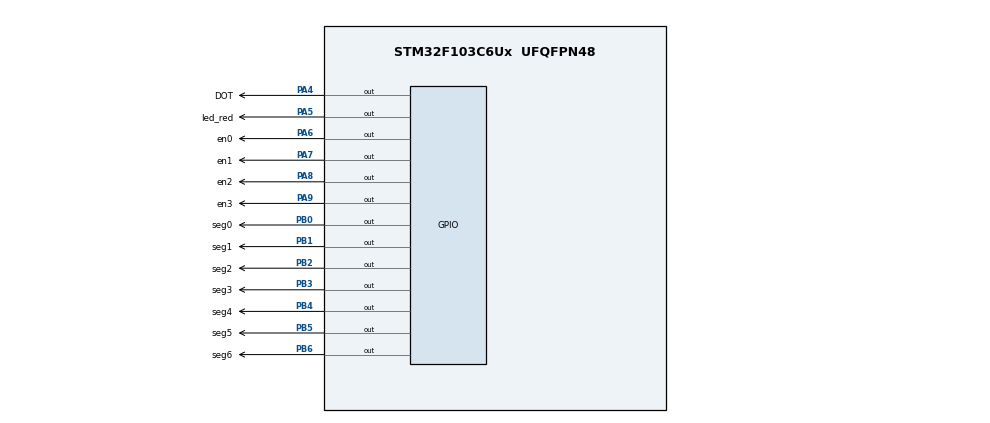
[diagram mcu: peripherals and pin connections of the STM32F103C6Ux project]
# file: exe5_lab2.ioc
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Mcu.Family=STM32F1
Mcu.Name=STM32F103C6Ux
Mcu.Package=UFQFPN48
NVIC.PriorityGroup=NVIC_PRIORITYGROUP_4
NVIC.TIM2_IRQn=true\:0\:0\:false\:false\:true\:true\:true\:true
PA4.GPIO_Label=DOT
PA4.Signal=GPIO_Output
PA5.GPIO_Label=led_red
PA5.Signal=GPIO_Output
PA6.GPIO_Label=en0
PA6.Signal=GPIO_Output
PA7.GPIO_Label=en1
PA7.Signal=GPIO_Output
PA8.GPIO_Label=en2
PA8.Signal=GPIO_Output
PA9.GPIO_Label=en3
PA9.Signal=GPIO_Output
PB0.GPIO_Label=seg0
PB0.Signal=GPIO_Output
PB1.GPIO_Label=seg1
PB1.Signal=GPIO_Output
PB2.GPIO_Label=seg2
PB2.Signal=GPIO_Output
PB3.GPIO_Label=seg3
PB3.Signal=GPIO_Output
PB4.GPIO_Label=seg4
PB4.Signal=GPIO_Output
PB5.GPIO_Label=seg5
PB5.Signal=GPIO_Output
PB6.GPIO_Label=seg6
PB6.Signal=GPIO_Output
ProjectManager.HeapSize=0x200
ProjectManager.StackSize=0x400
ProjectManager.TargetToolchain=STM32CubeIDE
RCC.APB1Freq_Value=8000000
RCC.APB2Freq_Value=8000000
TIM2.Period=9
TIM2.Prescaler=7999
VP_TIM2_VS_ClockSourceINT.Mode=Internal
board=custom

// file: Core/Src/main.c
/* USER CODE BEGIN Header */
/**
  ******************************************************************************
  * @file           : main.c
  * @brief          : Main program body
  ******************************************************************************
  * @attention
  *
  * Copyright (c) 2022 STMicroelectronics.
  * All rights reserved.
  *
  * This software is licensed under terms that can be found in the LICENSE file
  * in the root directory of this software component.
  * If no LICENSE file comes with this software, it is provided AS-IS.
  *
  ******************************************************************************
  */
/* USER CODE END Header */
#include "main.h"

TIM_HandleTypeDef htim2;

void SystemClock_Config(void);
static void MX_GPIO_Init(void);
static void MX_TIM2_Init(void);

/* USER CODE BEGIN 0 */
void display7SEG(int num){
	  if(num == 0){
		  HAL_GPIO_WritePin(seg0_GPIO_Port, seg0_Pin, RESET);
		  HAL_GPIO_WritePin(seg1_GPIO_Port, seg1_Pin, RESET);
		  HAL_GPIO_WritePin(seg2_GPIO_Port, seg2_Pin, RESET);
		  HAL_GPIO_WritePin(seg3_GPIO_Port, seg3_Pin, RESET);
		  HAL_GPIO_WritePin(seg4_GPIO_Port, seg4_Pin, RESET);
		  HAL_GPIO_WritePin(seg5_GPIO_Port, seg5_Pin, RESET);
		  HAL_GPIO_WritePin(seg6_GPIO_Port, seg6_Pin, SET);
	  }
	  if(num == 1){
		  HAL_GPIO_WritePin(seg0_GPIO_Port, seg0_Pin, SET);
		  HAL_GPIO_WritePin(seg1_GPIO_Port, seg1_Pin, RESET);
		  HAL_GPIO_WritePin(seg2_GPIO_Port, seg2_Pin, RESET);
		  HAL_GPIO_WritePin(seg3_GPIO_Port, seg3_Pin, SET);
		  HAL_GPIO_WritePin(seg4_GPIO_Port, seg4_Pin, SET);
		  HAL_GPIO_WritePin(seg5_GPIO_Port, seg5_Pin, SET);
		  HAL_GPIO_WritePin(seg6_GPIO_Port, seg6_Pin, SET);
	  }
	  if(num == 2){
		  HAL_GPIO_WritePin(seg0_GPIO_Port, seg0_Pin, RESET);
		  HAL_GPIO_WritePin(seg1_GPIO_Port, seg1_Pin, RESET);
		  HAL_GPIO_WritePin(seg2_GPIO_Port, seg2_Pin, SET);
		  HAL_GPIO_WritePin(seg3_GPIO_Port, seg3_Pin, RESET);
		  HAL_GPIO_WritePin(seg4_GPIO_Port, seg4_Pin, RESET);
		  HAL_GPIO_WritePin(seg5_GPIO_Port, seg5_Pin, SET);
		  HAL_GPIO_WritePin(seg6_GPIO_Port, seg6_Pin, RESET);
	  }
	  if(num == 3){
		  HAL_GPIO_WritePin(seg0_GPIO_Port, seg0_Pin, RESET);
		  HAL_GPIO_WritePin(seg1_GPIO_Port, seg1_Pin, RESET);
		  HAL_GPIO_WritePin(seg2_GPIO_Port, seg2_Pin, RESET);
		  HAL_GPIO_WritePin(seg3_GPIO_Port, seg3_Pin, RESET);
		  HAL_GPIO_WritePin(seg4_GPIO_Port, seg4_Pin, SET);
		  HAL_GPIO_WritePin(seg5_GPIO_Port, seg5_Pin, SET);
		  HAL_GPIO_WritePin(seg6_GPIO_Port, seg6_Pin, RESET);
	  }
	  if(num == 4){
		  HAL_GPIO_WritePin(seg0_GPIO_Port, seg0_Pin, SET);
		  HAL_GPIO_WritePin(seg1_GPIO_Port, seg1_Pin, RESET);
		  HAL_GPIO_WritePin(seg2_GPIO_Port, seg2_Pin, RESET);
		  HAL_GPIO_WritePin(seg3_GPIO_Port, seg3_Pin, SET);
		  HAL_GPIO_WritePin(seg4_GPIO_Port, seg4_Pin, SET);
		  HAL_GPIO_WritePin(seg5_GPIO_Port, seg5_Pin, RESET);
		  HAL_GPIO_WritePin(seg6_GPIO_Port, seg6_Pin, RESET);
	  }
	  if(num == 5){
		  HAL_GPIO_WritePin(seg0_GPIO_Port, seg0_Pin, RESET);
		  HAL_GPIO_WritePin(seg1_GPIO_Port, seg1_Pin, SET);
		  HAL_GPIO_WritePin(seg2_GPIO_Port, seg2_Pin, RESET);
		  HAL_GPIO_WritePin(seg3_GPIO_Port, seg3_Pin, RESET);
		  HAL_GPIO_WritePin(seg4_GPIO_Port, seg4_Pin, SET);
		  HAL_GPIO_WritePin(seg5_GPIO_Port, seg5_Pin, RESET);
		  HAL_GPIO_WritePin(seg6_GPIO_Port, seg6_Pin, RESET);
	  }
	  if(num == 6){
		  HAL_GPIO_WritePin(seg0_GPIO_Port, seg0_Pin, RESET);
		  HAL_GPIO_WritePin(seg1_GPIO_Port, seg1_Pin, SET);
		  HAL_GPIO_WritePin(seg2_GPIO_Port, seg2_Pin, RESET);
		  HAL_GPIO_WritePin(seg3_GPIO_Port, seg3_Pin, RESET);
		  HAL_GPIO_WritePin(seg4_GPIO_Port, seg4_Pin, RESET);
		  HAL_GPIO_WritePin(seg5_GPIO_Port, seg5_Pin, RESET);
		  HAL_GPIO_WritePin(seg6_GPIO_Port, seg6_Pin, RESET);
	  }
	  if(num == 7){
		  HAL_GPIO_WritePin(seg0_GPIO_Port, seg0_Pin, RESET);
		  HAL_GPIO_WritePin(seg1_GPIO_Port, seg1_Pin, RESET);
		  HAL_GPIO_WritePin(seg2_GPIO_Port, seg2_Pin, RESET);
		  HAL_GPIO_WritePin(seg3_GPIO_Port, seg3_Pin, SET);
		  HAL_GPIO_WritePin(seg4_GPIO_Port, seg4_Pin, SET);
		  HAL_GPIO_WritePin(seg5_GPIO_Port, seg5_Pin, SET);
		  HAL_GPIO_WritePin(seg6_GPIO_Port, seg6_Pin, SET);
	  }
	  if(num == 8){
		  HAL_GPIO_WritePin(seg0_GPIO_Port, seg0_Pin, RESET);
		  HAL_GPIO_WritePin(seg1_GPIO_Port, seg1_Pin, RESET);
		  HAL_GPIO_WritePin(seg2_GPIO_Port, seg2_Pin, RESET);
		  HAL_GPIO_WritePin(seg3_GPIO_Port, seg3_Pin, RESET);
		  HAL_GPIO_WritePin(seg4_GPIO_Port, seg4_Pin, RESET);
		  HAL_GPIO_WritePin(seg5_GPIO_Port, seg5_Pin, RESET);
		  HAL_GPIO_WritePin(seg6_GPIO_Port, seg6_Pin, RESET);
	  }
	  if(num == 9){
		  HAL_GPIO_WritePin(seg0_GPIO_Port, seg0_Pin, RESET);
		  HAL_GPIO_WritePin(seg1_GPIO_Port, seg1_Pin, RESET);
		  HAL_GPIO_WritePin(seg2_GPIO_Port, seg2_Pin, RESET);
		  HAL_GPIO_WritePin(seg3_GPIO_Port, seg3_Pin, RESET);
		  HAL_GPIO_WritePin(seg4_GPIO_Port, seg4_Pin, SET);
		  HAL_GPIO_WritePin(seg5_GPIO_Port, seg5_Pin, RESET);
		  HAL_GPIO_WritePin(seg6_GPIO_Port, seg6_Pin, RESET);
	  }
};
const int MAX_LED = 4;
int index_led = 0;
int led_buffer [4] = {2, 4, 6, 8};
void update7SEG ( int index ){
	switch ( index ){
		case 0:
			// Display the first 7 SEG with led_buffer [0]
			HAL_GPIO_WritePin(en0_GPIO_Port, en0_Pin, RESET);
			HAL_GPIO_WritePin(en1_GPIO_Port, en1_Pin, SET);
			HAL_GPIO_WritePin(en2_GPIO_Port, en2_Pin, SET);
			HAL_GPIO_WritePin(en3_GPIO_Port, en3_Pin, SET);
			display7SEG(led_buffer[0]);
			break ;
		case 1:
			// Display the second 7 SEG with led_buffer [1]
			HAL_GPIO_WritePin(en0_GPIO_Port, en0_Pin, SET);
			HAL_GPIO_WritePin(en1_GPIO_Port, en1_Pin, RESET);
			HAL_GPIO_WritePin(en2_GPIO_Port, en2_Pin, SET);
			HAL_GPIO_WritePin(en3_GPIO_Port, en3_Pin, SET);
			display7SEG(led_buffer[1]);
			break ;
		case 2:
			// Display the third 7 SEG with led_buffer [2]
			HAL_GPIO_WritePin(en0_GPIO_Port, en0_Pin, SET);
			HAL_GPIO_WritePin(en1_GPIO_Port, en1_Pin, SET);
			HAL_GPIO_WritePin(en2_GPIO_Port, en2_Pin, RESET);
			HAL_GPIO_WritePin(en3_GPIO_Port, en3_Pin, SET);
			display7SEG(led_buffer[2]);
			break ;
		case 3:
			// Display the forth 7 SEG with led_buffer [3]
			HAL_GPIO_WritePin(en0_GPIO_Port, en0_Pin, SET);
			HAL_GPIO_WritePin(en1_GPIO_Port, en1_Pin, SET);
			HAL_GPIO_WritePin(en2_GPIO_Port, en2_Pin, SET);
			HAL_GPIO_WritePin(en3_GPIO_Port, en3_Pin, RESET);
			display7SEG(led_buffer[3]);
			break ;
		default :
			break ;
	 }
}
void updateClockBuffer (int hr, int min){
	if (hr <= 9){
		led_buffer[0] = 0;
		led_buffer[1] = hr;
	}else{
		led_buffer[0] = hr/10;
		led_buffer[1] = hr%10;
	}
	if (min <= 9){
		led_buffer[2] = 0;
		led_buffer[3] = min;
	}else{
		led_buffer[2] = min/10;
		led_buffer[3] = min%10;
	}
}
/* USER CODE END 0 */

int main(void)
{

  /* MCU Configuration--------------------------------------------------------*/

  /* Reset of all peripherals, Initializes the Flash interface and the Systick. */
  HAL_Init();

  /* Configure the system clock */
  SystemClock_Config();

  /* Initialize all configured peripherals */
  MX_GPIO_Init();
  MX_TIM2_Init();
  /* USER CODE BEGIN 2 */
  HAL_TIM_Base_Start_IT (& htim2 );
  /* USER CODE END 2 */

  /* Infinite loop */
  /* USER CODE BEGIN WHILE */
  int hour = 15, minute = 8, second = 50;
  while (1)
  {
	  second ++;
	  if ( second >= 60) {
		  second = 0;
		  minute ++;
	  }
	  if( minute >= 60) {
		  minute = 0;
		  hour ++;
	  }
	  if( hour >=24){
		  hour = 0;
	  }
	  updateClockBuffer (hour, minute);
	  HAL_Delay (1000) ;
    /* USER CODE END WHILE */

  }
}

void SystemClock_Config(void)
{
  RCC_OscInitTypeDef RCC_OscInitStruct = {0};
  RCC_ClkInitTypeDef RCC_ClkInitStruct = {0};

  /** Initializes the RCC Oscillators according to the specified parameters
  * in the RCC_OscInitTypeDef structure.
  */
  RCC_OscInitStruct.OscillatorType = RCC_OSCILLATORTYPE_HSI;
  RCC_OscInitStruct.HSIState = RCC_HSI_ON;
  RCC_OscInitStruct.HSICalibrationValue = RCC_HSICALIBRATION_DEFAULT;
  RCC_OscInitStruct.PLL.PLLState = RCC_PLL_NONE;
  if (HAL_RCC_OscConfig(&RCC_OscInitStruct) != HAL_OK)
  {
    Error_Handler();
  }

  /** Initializes the CPU, AHB and APB buses clocks
  */
  RCC_ClkInitStruct.ClockType = RCC_CLOCKTYPE_HCLK|RCC_CLOCKTYPE_SYSCLK
                              |RCC_CLOCKTYPE_PCLK1|RCC_CLOCKTYPE_PCLK2;
  RCC_ClkInitStruct.SYSCLKSource = RCC_SYSCLKSOURCE_HSI;
  RCC_ClkInitStruct.AHBCLKDivider = RCC_SYSCLK_DIV1;
  RCC_ClkInitStruct.APB1CLKDivider = RCC_HCLK_DIV1;
  RCC_ClkInitStruct.APB2CLKDivider = RCC_HCLK_DIV1;

  if (HAL_RCC_ClockConfig(&RCC_ClkInitStruct, FLASH_LATENCY_0) != HAL_OK)
  {
    Error_Handler();
  }
}

static void MX_TIM2_Init(void)
{

  TIM_ClockConfigTypeDef sClockSourceConfig = {0};
  TIM_MasterConfigTypeDef sMasterConfig = {0};

  htim2.Instance = TIM2;
  htim2.Init.Prescaler = 7999;
  htim2.Init.CounterMode = TIM_COUNTERMODE_UP;
  htim2.Init.Period = 9;
  htim2.Init.ClockDivision = TIM_CLOCKDIVISION_DIV1;
  htim2.Init.AutoReloadPreload = TIM_AUTORELOAD_PRELOAD_DISABLE;
  if (HAL_TIM_Base_Init(&htim2) != HAL_OK)
  {
    Error_Handler();
  }
  sClockSourceConfig.ClockSource = TIM_CLOCKSOURCE_INTERNAL;
  if (HAL_TIM_ConfigClockSource(&htim2, &sClockSourceConfig) != HAL_OK)
  {
    Error_Handler();
  }
  sMasterConfig.MasterOutputTrigger = TIM_TRGO_RESET;
  sMasterConfig.MasterSlaveMode = TIM_MASTERSLAVEMODE_DISABLE;
  if (HAL_TIMEx_MasterConfigSynchronization(&htim2, &sMasterConfig) != HAL_OK)
  {
    Error_Handler();
  }

}

static void MX_GPIO_Init(void)
{
  GPIO_InitTypeDef GPIO_InitStruct = {0};

  /* GPIO Ports Clock Enable */
  __HAL_RCC_GPIOA_CLK_ENABLE();
  __HAL_RCC_GPIOB_CLK_ENABLE();

  /*Configure GPIO pin Output Level */
  HAL_GPIO_WritePin(GPIOA, DOT_Pin|led_red_Pin|en0_Pin|en1_Pin
                          |en2_Pin|en3_Pin, GPIO_PIN_RESET);

  /*Configure GPIO pin Output Level */
  HAL_GPIO_WritePin(GPIOB, seg0_Pin|seg1_Pin|seg2_Pin|seg3_Pin
                          |seg4_Pin|seg5_Pin|seg6_Pin, GPIO_PIN_RESET);

  /*Configure GPIO pins : DOT_Pin led_red_Pin en0_Pin en1_Pin
                           en2_Pin en3_Pin */
  GPIO_InitStruct.Pin = DOT_Pin|led_red_Pin|en0_Pin|en1_Pin
                          |en2_Pin|en3_Pin;
  GPIO_InitStruct.Mode = GPIO_MODE_OUTPUT_PP;
  GPIO_InitStruct.Pull = GPIO_NOPULL;
  GPIO_InitStruct.Speed = GPIO_SPEED_FREQ_LOW;
  HAL_GPIO_Init(GPIOA, &GPIO_InitStruct);

  /*Configure GPIO pins : seg0_Pin seg1_Pin seg2_Pin seg3_Pin
                           seg4_Pin seg5_Pin seg6_Pin */
  GPIO_InitStruct.Pin = seg0_Pin|seg1_Pin|seg2_Pin|seg3_Pin
                          |seg4_Pin|seg5_Pin|seg6_Pin;
  GPIO_InitStruct.Mode = GPIO_MODE_OUTPUT_PP;
  GPIO_InitStruct.Pull = GPIO_NOPULL;
  GPIO_InitStruct.Speed = GPIO_SPEED_FREQ_LOW;
  HAL_GPIO_Init(GPIOB, &GPIO_InitStruct);

}

/* USER CODE BEGIN 4 */
int count = 0;
void HAL_TIM_PeriodElapsedCallback ( TIM_HandleTypeDef * htim ){
	if (index_led >= 4) index_led = 0;
	if (count == 0){
		HAL_GPIO_WritePin(led_red_GPIO_Port, led_red_Pin, RESET);
		HAL_GPIO_TogglePin(DOT_GPIO_Port, DOT_Pin);
		update7SEG(index_led++);
	}
	if (count == 25){
		update7SEG(index_led++);
	}
	if (count == 50){
		HAL_GPIO_WritePin(led_red_GPIO_Port, led_red_Pin, SET);
		update7SEG(index_led++);
	}
	if (count == 75){
		update7SEG(index_led++);
	}
	if (count == 100){
		count = -1;
	}
	count++;
}
/* USER CODE END 4 */

void Error_Handler(void)
{
  __disable_irq();
  while (1)
  {
  }
}
